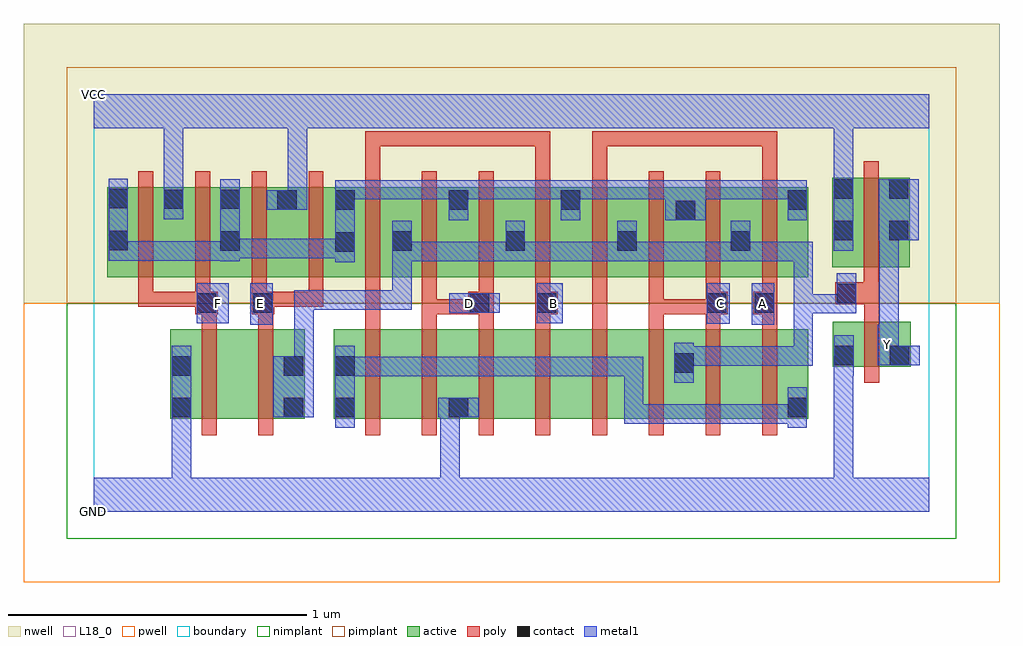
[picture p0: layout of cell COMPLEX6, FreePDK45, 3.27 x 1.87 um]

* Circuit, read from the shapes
.subckt COMPLEX6 A B C D E F GND VCC Y
M1 n1 F GND VSUBS nfet w=0.3u l=0.05u
M2 n2 E n1 VSUBS nfet w=0.3u l=0.05u
M3 n3 B n4 VSUBS nfet w=0.3u l=0.05u
M4 GND D n3 VSUBS nfet w=0.3u l=0.05u
M5 n5 D GND VSUBS nfet w=0.3u l=0.05u
M6 n6 B n5 VSUBS nfet w=0.3u l=0.05u
M7 n7 A n6 VSUBS nfet w=0.3u l=0.05u
M8 n2 C n7 VSUBS nfet w=0.3u l=0.05u
M9 n8 C n2 VSUBS nfet w=0.3u l=0.05u
M10 n4 A n8 VSUBS nfet w=0.3u l=0.05u
M11 Y n2 GND VSUBS nfet w=0.15u l=0.05u
M12 VCC F n9 n10 pfet w=0.3u l=0.05u m=2
M13 VCC E n9 n10 pfet w=0.3u l=0.05u m=2
M14 n2 B n9 n10 pfet w=0.3u l=0.05u m=2
M15 n9 D n2 n10 pfet w=0.3u l=0.05u m=2
M16 n2 A n9 n10 pfet w=0.3u l=0.05u m=2
M17 n9 C n2 n10 pfet w=0.3u l=0.05u m=2
M18 Y n2 VCC n10 pfet w=0.3u l=0.05u
.ends

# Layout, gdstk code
import gdstk
lib = gdstk.Library(unit=1e-6, precision=1e-09)
def R(c, l, rs):  # rectangles x0, y0, x1, y1
    for r in rs: c.add(gdstk.rectangle(r[:2], r[2:], *l))
def A(c, l, x, y, w, h, nx, ny, dx, dy):  # array of equal rectangles
    R(c, l, [(x+i*dx, y+j*dy, x+i*dx+w, y+j*dy+h) for i in range(nx) for j in range(ny)])
active = (1, 0)
pwell = (2, 0)
nwell = (3, 0)
nimplant = (4, 0)
pimplant = (5, 0)
poly = (9, 0)
contact = (10, 0)
metal1 = (11, 0)
L18_0 = (18, 0)
boundary = (235, 0)

complex6 = lib.new_cell('COMPLEX6')
A(complex6, active, 0.805, 0.787, 0.265, 0.3, 3, 1, 0.19, 0)
R(complex6, active, [(0.257,0.312,0.482,0.612), (0.257,0.312,0.332,0.612), (0.482,0.312,0.707,0.612), (0.632,0.312,0.707,0.612), (0.805,0.312,1.03,0.612), (0.805,0.312,0.88,0.612), (1.03,0.312,1.26,0.612), (1.185,0.312,1.26,0.572), (1.185,0.312,1.41,0.612), (1.41,0.312,1.6,0.612), (1.6,0.312,1.79,0.612), (1.79,0.312,2.015,0.612), (1.94,0.312,2.17,0.612), (2.17,0.312,2.395,0.612), (2.32,0.312,2.395,0.572), (1.94,0.345,2.015,0.537), (2.477,0.487,2.552,0.637), (2.477,0.487,2.737,0.637), (2.662,0.487,2.737,0.637), (0.045,0.787,0.12,1.087), (0.045,0.787,0.305,1.087), (0.23,0.787,0.305,1.087), (0.23,0.787,0.495,1.087), (0.42,0.787,0.685,1.087), (0.42,0.787,0.495,1.085), (0.61,0.787,0.88,1.087), (0.61,0.787,0.685,1.082), (0.805,0.787,0.88,1.082), (1.375,0.787,1.635,1.087), (1.56,0.787,1.825,1.087), (1.75,0.787,2.02,1.087), (1.945,0.787,2.205,1.087), (2.13,0.787,2.395,1.087), (2.475,0.82,2.55,1.12), (2.475,0.82,2.735,1.12), (2.66,0.82,2.735,1.12), (0.995,0.87,1.07,1.055), (1.375,0.87,1.45,1.055), (1.75,0.87,1.825,1.055), (2.13,0.87,2.205,1.055), (1.185,0.882,1.26,1.087), (1.56,0.882,1.635,1.087), (1.945,0.882,2.02,1.087), (2.32,0.882,2.395,1.082)])
R(complex6, pwell, [(-0.235,-0.235,3.035,0.7)])
R(complex6, nwell, [(-0.235,0.7,3.035,1.635)])
R(complex6, nimplant, [(-0.09,-0.09,2.89,0.7)])
R(complex6, pimplant, [(-0.09,0.7,2.89,1.49)])
A(complex6, poly, 0.91, 0.257, 0.05, 0.41, 8, 1, 0.19, 0)
A(complex6, poly, 0.91, 0.617, 0.05, 0.095, 4, 1, 0.19, 0)
A(complex6, poly, 1.86, 0.617, 0.05, 0.095, 3, 1, 0.19, 0)
A(complex6, poly, 0.15, 0.687, 0.05, 0.095, 4, 1, 0.19, 0)
A(complex6, poly, 1.29, 0.687, 0.05, 0.095, 3, 1, 0.19, 0)
A(complex6, poly, 0.15, 0.732, 0.05, 0.41, 12, 1, 0.19, 0)
R(complex6, poly, [(0.362,0.257,0.412,0.667), (0.552,0.257,0.602,0.667), (2.582,0.432,2.632,0.692), (0.362,0.617,0.412,0.712), (0.552,0.617,0.602,0.712), (1.67,0.617,1.72,0.737), (2.582,0.642,2.632,0.745), (0.34,0.662,0.415,0.737), (0.53,0.662,0.605,0.737), (0.91,0.662,0.96,0.712), (0.91,0.662,0.96,0.782), (1.1,0.662,1.15,0.712), (1.1,0.662,1.15,0.782), (1.1,0.662,1.265,0.712), (1.215,0.662,1.265,0.712), (1.215,0.662,1.305,0.712), (1.255,0.662,1.34,0.737), (1.48,0.662,1.555,0.737), (1.86,0.662,1.91,0.712), (1.86,0.662,2.1,0.712), (1.86,0.662,1.91,0.782), (2.05,0.662,2.1,0.712), (2.05,0.662,2.1,0.712), (2.05,0.662,2.125,0.737), (2.21,0.662,2.29,0.737), (0.15,0.687,0.2,0.737), (0.15,0.687,0.39,0.737), (0.34,0.687,0.39,0.737), (0.34,0.687,0.39,0.737), (0.555,0.687,0.605,0.737), (0.555,0.687,0.605,0.737), (0.555,0.687,0.77,0.737), (0.72,0.687,0.77,0.737), (1.67,0.687,1.72,0.737), (2.05,0.687,2.1,0.782), (2.24,0.687,2.29,0.782), (2.485,0.695,2.632,0.77), (2.58,0.72,2.63,0.815), (2.58,0.765,2.63,1.175), (0.91,1.092,0.96,1.275), (1.48,1.092,1.53,1.275), (1.67,1.092,1.72,1.275), (2.24,1.092,2.29,1.275), (0.91,1.225,0.96,1.275), (0.91,1.225,0.96,1.275), (0.91,1.225,0.96,1.275), (0.91,1.225,1.172,1.275), (1.122,1.225,1.172,1.275), (1.122,1.225,1.172,1.275), (1.122,1.225,1.172,1.275), (1.122,1.225,1.397,1.275), (1.347,1.225,1.397,1.275), (1.347,1.225,1.397,1.275), (1.347,1.225,1.397,1.275), (1.347,1.225,1.53,1.275), (1.48,1.225,1.53,1.275), (1.67,1.225,1.72,1.275), (1.67,1.225,1.852,1.275), (1.802,1.225,1.852,1.275), (1.802,1.225,1.852,1.275), (1.802,1.225,1.852,1.275), (1.802,1.225,2.127,1.275), (2.077,1.225,2.127,1.275), (2.077,1.225,2.127,1.275), (2.077,1.225,2.127,1.275), (2.077,1.225,2.29,1.275), (2.24,1.225,2.29,1.275), (2.24,1.225,2.29,1.275), (2.24,1.225,2.29,1.275)])
R(complex6, contact, [(0.262,0.317,0.327,0.382), (0.637,0.317,0.702,0.382), (0.81,0.317,0.875,0.382), (1.19,0.317,1.255,0.382), (2.325,0.317,2.39,0.382), (0.262,0.457,0.327,0.522), (0.637,0.457,0.702,0.522), (0.81,0.457,0.875,0.522), (1.945,0.467,2.01,0.532), (2.482,0.492,2.547,0.557), (2.667,0.492,2.732,0.557), (0.345,0.667,0.41,0.732), (0.535,0.667,0.6,0.732), (1.26,0.667,1.325,0.732), (1.485,0.667,1.55,0.732), (2.055,0.667,2.12,0.732), (2.215,0.667,2.28,0.732), (2.49,0.7,2.555,0.765), (0.81,0.872,0.875,0.937), (0.425,0.875,0.49,0.94), (1,0.875,1.065,0.94), (1.38,0.875,1.445,0.94), (1.755,0.875,1.82,0.94), (2.135,0.875,2.2,0.94), (0.05,0.877,0.115,0.942), (2.48,0.91,2.545,0.975), (2.665,0.91,2.73,0.975), (1.95,0.977,2.015,1.042), (0.615,1.012,0.68,1.077), (0.81,1.012,0.875,1.077), (1.19,1.012,1.255,1.077), (1.565,1.012,1.63,1.077), (2.325,1.012,2.39,1.077), (0.235,1.015,0.3,1.08), (0.425,1.015,0.49,1.08), (0.05,1.017,0.115,1.082), (2.48,1.05,2.545,1.115), (2.665,1.05,2.73,1.115)])
R(complex6, metal1, [(0,0,2.8,0.115), (0.262,0.05,0.327,0.347), (1.162,0.05,1.227,0.115), (1.162,0.05,1.227,0.115), (1.162,0.05,1.227,0.382), (2.48,0.05,2.545,0.115), (2.48,0.05,2.545,0.115), (2.48,0.05,2.545,0.522), (0.262,0.282,0.327,0.347), (0.262,0.282,0.327,0.347), (0.262,0.282,0.327,0.347), (0.262,0.282,0.327,0.347), (0.262,0.282,0.327,0.557), (0.81,0.282,0.875,0.557), (2.325,0.282,2.39,0.417), (1.777,0.295,1.842,0.36), (1.777,0.295,1.842,0.36), (1.777,0.295,1.842,0.36), (1.777,0.295,1.98,0.36), (1.777,0.295,1.842,0.52), (1.915,0.295,1.98,0.36), (1.915,0.295,1.98,0.36), (1.915,0.295,1.98,0.36), (1.915,0.295,2.252,0.36), (2.187,0.295,2.252,0.36), (2.187,0.295,2.252,0.36), (2.187,0.295,2.252,0.36), (2.187,0.295,2.39,0.36), (0.602,0.317,0.737,0.522), (1.155,0.317,1.29,0.382), (1.162,0.317,1.227,0.382), (1.162,0.317,1.227,0.382), (1.945,0.432,2.01,0.567), (0.81,0.455,0.875,0.52), (0.81,0.455,0.875,0.52), (0.81,0.455,1.065,0.52), (1,0.455,1.065,0.52), (1,0.455,1.115,0.52), (1.05,0.455,1.115,0.52), (1.05,0.455,1.255,0.52), (1.19,0.455,1.255,0.52), (1.19,0.455,1.255,0.52), (1.19,0.455,1.255,0.52), (1.19,0.455,1.49,0.52), (1.425,0.455,1.49,0.52), (1.425,0.455,1.49,0.52), (1.425,0.455,1.49,0.52), (1.425,0.455,1.682,0.52), (1.617,0.455,1.682,0.52), (1.617,0.455,1.682,0.52), (1.617,0.455,1.682,0.52), (1.617,0.455,1.842,0.52), (1.777,0.455,1.842,0.52), (0.672,0.457,0.737,0.742), (2.48,0.457,2.547,0.522), (2.482,0.457,2.547,0.522), (2.482,0.457,2.547,0.522), (2.482,0.457,2.547,0.522), (2.482,0.457,2.547,0.592), (1.945,0.49,2.01,0.555), (1.945,0.49,2.01,0.555), (1.945,0.49,2.187,0.555), (2.122,0.49,2.187,0.555), (2.122,0.49,2.187,0.555), (2.122,0.49,2.187,0.555), (2.122,0.49,2.41,0.555), (2.345,0.49,2.41,0.555), (2.345,0.49,2.41,0.73), (2.627,0.492,2.697,0.627), (2.632,0.492,2.697,0.557), (2.632,0.492,2.767,0.557), (2.632,0.562,2.697,0.975), (0.525,0.627,0.6,0.767), (2.205,0.627,2.28,0.767), (2.055,0.63,2.132,0.767), (0.345,0.632,0.452,0.767), (1.485,0.632,1.572,0.767), (2.345,0.665,2.41,0.73), (2.345,0.665,2.555,0.73), (2.345,0.665,2.41,0.905), (2.49,0.665,2.555,0.73), (2.49,0.665,2.555,0.73), (2.49,0.665,2.555,0.8), (1.192,0.667,1.36,0.732), (0.672,0.677,0.737,0.742), (0.672,0.677,0.737,0.742), (0.672,0.677,0.737,0.742), (0.672,0.677,0.927,0.742), (0.862,0.677,0.927,0.742), (0.862,0.677,0.927,0.742), (0.862,0.677,0.927,0.742), (0.862,0.677,1.065,0.742), (1,0.677,1.065,0.742), (1,0.677,1.065,0.905), (0.81,0.837,0.875,1.112), (0.425,0.84,0.49,1.115), (1,0.84,1.065,0.975), (1,0.84,1.112,0.905), (1.047,0.84,1.112,0.905), (1.047,0.84,1.255,0.905), (1.19,0.84,1.255,0.905), (1.19,0.84,1.255,0.905), (1.19,0.84,1.255,0.905), (1.19,0.84,1.445,0.905), (1.38,0.84,1.445,0.905), (1.38,0.84,1.445,0.905), (1.38,0.84,1.445,0.975), (1.38,0.84,1.682,0.905), (1.617,0.84,1.682,0.905), (1.617,0.84,1.682,0.905), (1.617,0.84,1.682,0.905), (1.617,0.84,1.82,0.905), (1.755,0.84,1.82,0.905), (1.755,0.84,1.82,0.905), (1.755,0.84,1.82,0.975), (1.755,0.84,1.98,0.905), (1.915,0.84,1.98,0.905), (1.915,0.84,1.98,0.905), (1.915,0.84,1.98,0.905), (1.915,0.84,2.2,0.905), (2.135,0.84,2.2,0.975), (2.135,0.84,2.407,0.905), (2.342,0.84,2.407,0.905), (2.342,0.84,2.407,0.905), (2.342,0.84,2.41,0.905), (0.05,0.842,0.115,0.907), (0.05,0.842,0.115,0.907), (0.05,0.842,0.115,1.117), (0.05,0.842,0.352,0.907), (0.287,0.842,0.352,0.907), (0.287,0.842,0.352,0.907), (0.287,0.842,0.352,0.907), (0.287,0.842,0.49,0.907), (0.425,0.85,0.49,0.915), (0.425,0.85,0.49,0.915), (0.425,0.85,0.737,0.915), (0.672,0.85,0.737,0.915), (0.672,0.85,0.737,0.915), (0.672,0.85,0.737,0.915), (0.672,0.85,0.875,0.915), (2.48,0.875,2.545,1.15), (2.63,0.91,2.765,1.115), (1.19,0.977,1.255,1.112), (1.565,0.977,1.63,1.112), (1.915,0.977,2.05,1.112), (2.325,0.977,2.39,1.112), (0.235,0.98,0.3,1.115), (0.58,1.012,0.715,1.077), (0.65,1.012,0.715,1.35), (0.81,1.047,0.875,1.112), (0.81,1.047,0.875,1.112), (0.81,1.047,0.927,1.112), (0.862,1.047,0.927,1.112), (0.862,1.047,1.082,1.112), (1.017,1.047,1.082,1.112), (1.017,1.047,1.115,1.112), (1.05,1.047,1.115,1.112), (1.05,1.047,1.255,1.112), (1.19,1.047,1.255,1.112), (1.19,1.047,1.255,1.112), (1.19,1.047,1.415,1.112), (1.35,1.047,1.415,1.112), (1.35,1.047,1.415,1.112), (1.35,1.047,1.415,1.112), (1.35,1.047,1.63,1.112), (1.565,1.047,1.63,1.112), (1.565,1.047,1.63,1.112), (1.565,1.047,1.842,1.112), (1.777,1.047,1.842,1.112), (1.777,1.047,1.842,1.112), (1.777,1.047,1.842,1.112), (1.777,1.047,1.98,1.112), (1.985,1.047,2.05,1.112), (1.985,1.047,2.05,1.112), (1.985,1.047,2.2,1.112), (2.135,1.047,2.2,1.112), (2.135,1.047,2.317,1.112), (2.252,1.047,2.317,1.112), (2.252,1.047,2.39,1.112), (0.235,1.05,0.3,1.115), (0.235,1.05,0.3,1.115), (0.235,1.05,0.3,1.35), (2.48,1.085,2.545,1.15), (2.48,1.085,2.545,1.15), (2.48,1.085,2.545,1.35), (0,1.285,2.8,1.4), (0.65,1.285,0.715,1.35), (0.65,1.285,0.715,1.35)])
R(complex6, L18_0, [(0,0,2.8,0.115), (0.262,0.05,0.327,0.347), (1.162,0.05,1.227,0.115), (1.162,0.05,1.227,0.115), (1.162,0.05,1.227,0.382), (2.48,0.05,2.545,0.115), (2.48,0.05,2.545,0.115), (2.48,0.05,2.545,0.522), (0.262,0.282,0.327,0.347), (0.262,0.282,0.327,0.347), (0.262,0.282,0.327,0.347), (0.262,0.282,0.327,0.347), (0.262,0.282,0.327,0.557), (1.155,0.317,1.29,0.382), (1.162,0.317,1.227,0.382), (1.162,0.317,1.227,0.382), (2.48,0.457,2.547,0.522), (2.482,0.457,2.547,0.522), (2.482,0.457,2.547,0.522), (2.482,0.457,2.547,0.522), (2.482,0.457,2.547,0.592), (2.627,0.492,2.697,0.627), (2.632,0.492,2.697,0.557), (2.632,0.492,2.767,0.557), (2.627,0.527,2.692,0.592), (2.632,0.562,2.697,0.975), (0.525,0.627,0.6,0.767), (2.205,0.627,2.28,0.767), (2.055,0.63,2.132,0.767), (0.345,0.632,0.452,0.767), (1.485,0.632,1.572,0.767), (0.387,0.667,0.452,0.732), (0.527,0.667,0.592,0.732), (1.192,0.667,1.36,0.732), (1.227,0.667,1.292,0.732), (1.507,0.667,1.572,0.732), (2.067,0.667,2.132,0.732), (2.207,0.667,2.272,0.732), (2.48,0.875,2.545,1.15), (2.63,0.91,2.765,1.115), (0.235,0.98,0.3,1.115), (0.58,1.012,0.715,1.077), (0.65,1.012,0.715,1.35), (0.235,1.05,0.3,1.115), (0.235,1.05,0.3,1.115), (0.235,1.05,0.3,1.35), (2.48,1.085,2.545,1.15), (2.48,1.085,2.545,1.15), (2.48,1.085,2.545,1.35), (0,1.285,2.8,1.4), (0.65,1.285,0.715,1.35), (0.65,1.285,0.715,1.35)])
R(complex6, boundary, [(0,0,2.8,1.4)])
complex6.add(gdstk.Label('A', (2.24,0.7), layer=11, texttype=0))
complex6.add(gdstk.Label('B', (1.54,0.7), layer=11, texttype=0))
complex6.add(gdstk.Label('C', (2.1,0.7), layer=11, texttype=0))
complex6.add(gdstk.Label('D', (1.26,0.7), layer=11, texttype=0))
complex6.add(gdstk.Label('E', (0.56,0.7), layer=11, texttype=0))
complex6.add(gdstk.Label('F', (0.42,0.7), layer=11, texttype=0))
complex6.add(gdstk.Label('Y', (2.66,0.56), layer=11, texttype=0))
complex6.add(gdstk.Label('VCC', (0,1.4), layer=11, texttype=0))
complex6.add(gdstk.Label('GND', (0,0), layer=11, texttype=0))

lib.write_gds('COMPLEX6.gds')
